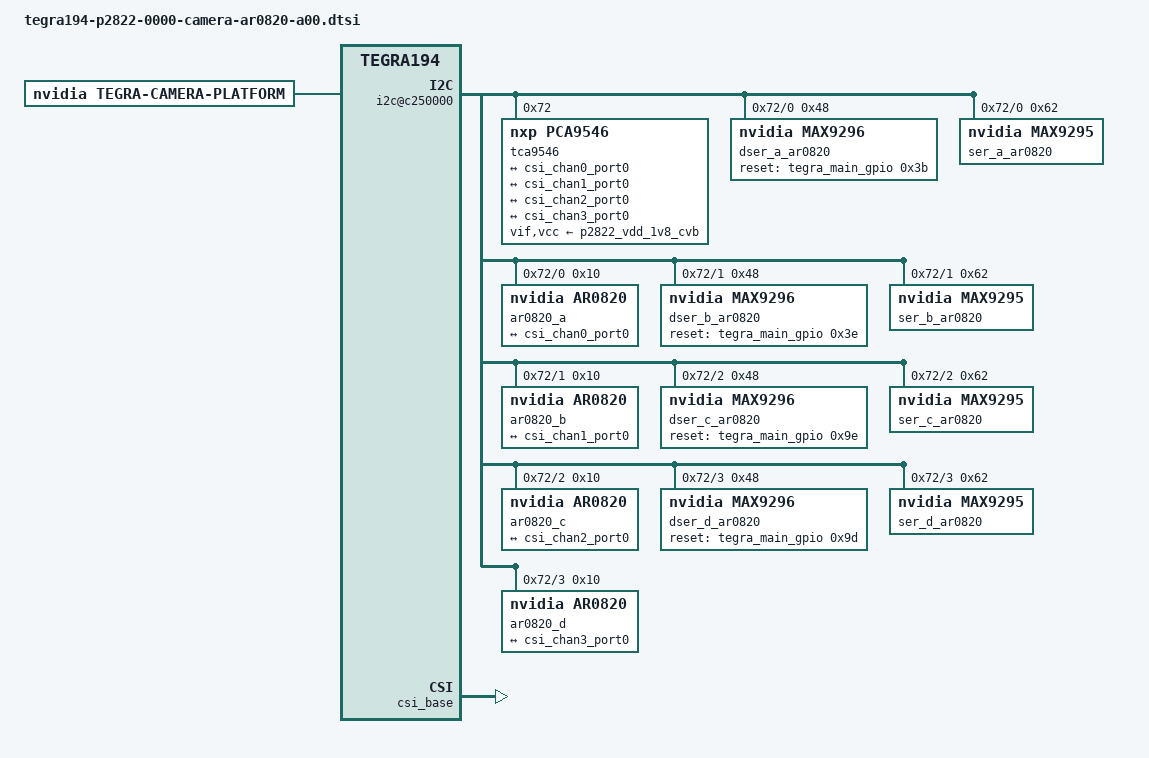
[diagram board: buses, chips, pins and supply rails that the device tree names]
/*
 * Copyright (c) 2018-2019, NVIDIA CORPORATION.  All rights reserved.
 *
 * This program is free software; you can redistribute it and/or modify
 * it under the terms of the GNU General Public License as published by
 * the Free Software Foundation; either version 2 of the License, or
 * (at your option) any later version.
 *
 * This program is distributed in the hope that it will be useful, but WITHOUT
 * ANY WARRANTY; without even the implied warranty of MERCHANTABILITY or
 * FITNESS FOR A PARTICULAR PURPOSE.  See the GNU General Public License for
 * more details.
 *
 * You should have received a copy of the GNU General Public License
 * along with this program.  If not, see <http://www.gnu.org/licenses/>.
 */
#include "dt-bindings/clock/tegra194-clock.h"

#define CAM0_RST_L	TEGRA194_MAIN_GPIO(H, 3)
#define CAMERA_I2C_MUX_BUS(x) (0x1E + x)

/* camera control gpio definitions */

/ {
	i2c@c250000 {
		#address-cells = <1>;
		#size-cells = <0>;

		tca9546@72 {
			compatible = "nxp,pca9546";
			reg = <0x72>;
			#address-cells = <1>;
			#size-cells = <0>;
			skip_mux_detect = "yes";
			vif-supply = <&p2822_vdd_1v8_cvb>;
			vcc-supply = <&p2822_vdd_1v8_cvb>;
			vcc_lp = "vcc";
			force_bus_start = <CAMERA_I2C_MUX_BUS(0)>;

			// I2C mux select 0 on JCB002
			i2c@0 {
				reg = <0>;
				i2c-mux,deselect-on-exit;
				#address-cells = <1>;
				#size-cells = <0>;

				dser_a_ar0820: max9296@48 {
					compatible = "nvidia,max9296";
					reg = <0x48>;
					csi-mode = "2x4";
					max-src = <1>;
					reset-gpios =  <&tegra_main_gpio 0x3b GPIO_ACTIVE_HIGH>;
				};

				ser_a_ar0820: max9295_prim@62 {
					compatible = "nvidia,max9295";
					reg = <0x62>;
				};

				ar0820_a: ar0820_a@10 {
					compatible = "nvidia,ar0820";
					reg = <0x10>;
					def-addr = <0x10>;
					reg_mux = <0x1>;
					physical_w = "15.0";
					physical_h = "12.5";
					sensor_model = "ar0820";
					post_crop_frame_drop = [30 00];
					use_decibel_gain = "true";
					use_sensor_mode_id = "true";
					clocks = <0x4 0x24 0x4 0x24>;
					clock-names = "extperiph1", "pllp_grtba";
					mclk = "extperiph1";
					nvidia,gmsl-ser-device = <&ser_a_ar0820>;
					nvidia,gmsl-dser-device = <&dser_a_ar0820>;	

					mode0 {
						default_framerate = "30000000";
						step_exp_time = [31 00];
						line_length = "1336";
						active_w = "3840";
						embedded_metadata_height = [30 00];
						pixel_phase = "grbg";
						pix_clk_hz = "156000000";
						dynamic_pixel_bit_depth = "12";
						dpcm_enable = "false";
						mode_type = "bayer";
						num_lanes = [34 00];
						inherent_gain = [31 00];
						max_gain_val = "499";
						min_hdr_ratio = [31 00];
						discontinuous_clk = "no";
						readout_orientation = [30 00];
						min_gain_val = "399";
						max_hdr_ratio = [31 00];
						tegra_sinterface = "serial_g";
						step_gain_val = [31 00];
						default_gain = "399";
						csi_pixel_bit_depth = "12";
						min_framerate = "30000000";
						default_exp_time = "1000";
						max_framerate = "30000000";
						exposure_factor = "1000000";
						step_framerate = [31 00];
						phy_mode = "DPHY";
						mclk_khz = "27000";
						cil_settletime = [30 00];
						gain_factor = "100";
						framerate_factor = "1000000";
						active_h = "2160";
						serdes_pix_clk_hz = "1500000000";
						max_exp_time = "6800";
						min_exp_time = "100";
					};

					ports {
						reg = <0x0>;
						#address-cells = <1>;
						#size-cells = <0>;
						
						port@0 {
							reg = <0>;
							ar0820_a_out: endpoint {
								vc-id = <0x0>;
								port-index = <0x6>;
								bus-width = <0x4>;
								remote-endpoint = <&csi_chan0_port0>;
							};
						};
					};

					gmsl-link {
						src-csi-port = "b";
						dst-csi-port = "a";
						serdes-csi-link = "a";
						csi-mode = "1x4";
						st-vc = <0x0>;
						vc-id = <0x0>;
						num-lanes = <0x4>;
						streams = "raw12";
					};
				};
			};

			// I2C mux select 1 on JCB002
			i2c@1 {
				reg = <1>;
				i2c-mux,deselect-on-exit;
				#address-cells = <1>;
				#size-cells = <0>;

				dser_b_ar0820: max9296@48 {
					compatible = "nvidia,max9296";
					reg = <0x48>;
					csi-mode = "2x4";
					max-src = <1>;
					reset-gpios =  <&tegra_main_gpio 0x3e GPIO_ACTIVE_HIGH>;
				};

				ser_b_ar0820: max9295_prim@62 {
					compatible = "nvidia,max9295";
					reg = <0x62>;
				};

				ar0820_b:  ar0820_b@10 {
					compatible = "nvidia,ar0820";
					reg = <0x10>;
					def-addr = <0x10>;
					reg_mux = <0x1>;
					physical_w = "15.0";
					physical_h = "12.5";
					sensor_model = "ar0820";
					post_crop_frame_drop = [30 00];
					use_decibel_gain = "true";
					use_sensor_mode_id = "true";
					clocks = <0x4 0x24 0x4 0x24>;
					clock-names = "extperiph1", "pllp_grtba";
					mclk = "extperiph1";
					nvidia,gmsl-ser-device = <&ser_b_ar0820>;
					nvidia,gmsl-dser-device = <&dser_b_ar0820>;	

					mode0 {
						default_framerate = "30000000";
						step_exp_time = [31 00];
						line_length = "1336";
						active_w = "3840";
						embedded_metadata_height = [30 00];
						pixel_phase = "grbg";
						pix_clk_hz = "156000000";
						dynamic_pixel_bit_depth = "12";
						dpcm_enable = "false";
						mode_type = "bayer";
						num_lanes = [34 00];
						inherent_gain = [31 00];
						max_gain_val = "499";
						min_hdr_ratio = [31 00];
						discontinuous_clk = "no";
						readout_orientation = [30 00];
						min_gain_val = "399";
						max_hdr_ratio = [31 00];
						tegra_sinterface = "serial_g";
						step_gain_val = [31 00];
						default_gain = "399";
						csi_pixel_bit_depth = "12";
						min_framerate = "30000000";
						default_exp_time = "1000";
						max_framerate = "30000000";
						exposure_factor = "1000000";
						step_framerate = [31 00];
						phy_mode = "DPHY";
						mclk_khz = "27000";
						cil_settletime = [30 00];
						gain_factor = "100";
						framerate_factor = "1000000";
						active_h = "2160";
						serdes_pix_clk_hz = "1500000000";
						max_exp_time = "6800";
						min_exp_time = "100";
					};

					ports {
						reg = <0x0>;
						#address-cells = <1>;
						#size-cells = <0>;

						port@0 {
							reg = <0>;
							ar0820_b_out: endpoint {
								vc-id = <0x0>;
								port-index = <0x4>;
								bus-width = <0x4>;
								remote-endpoint = <&csi_chan1_port0>;
							};
						};
					};

					gmsl-link {
						src-csi-port = "b";
						dst-csi-port = "a";
						serdes-csi-link = "a";
						csi-mode = "1x4";
						st-vc = <0x0>;
						vc-id = <0x0>;
						num-lanes = <0x4>;
						streams = "raw12";
					};
				};
			};


			// I2C mux select 2 on JCB002
			i2c@2 {
				reg = <2>;
				i2c-mux,deselect-on-exit;
				#address-cells = <1>;
				#size-cells = <0>;

				dser_c_ar0820: max9296@48 {
					compatible = "nvidia,max9296";
					reg = <0x48>;
					csi-mode = "2x4";
					max-src = <1>;
					reset-gpios =  <&tegra_main_gpio 0x9e GPIO_ACTIVE_HIGH>;
				};

				ser_c_ar0820: max9295_prim@62 {
					compatible = "nvidia,max9295";
					reg = <0x62>;
				};

				ar0820_c: ar0820_c@10 {
					compatible = "nvidia,ar0820";
					reg = <0x10>;
					def-addr = <0x10>;
					reg_mux = <0x1>;
					physical_w = "15.0";
					physical_h = "12.5";
					sensor_model = "ar0820";
					post_crop_frame_drop = [30 00];
					use_decibel_gain = "true";
					use_sensor_mode_id = "true";
					clocks = <0x4 0x24 0x4 0x24>;
					clock-names = "extperiph1", "pllp_grtba";
					mclk = "extperiph1";
					nvidia,gmsl-ser-device = <&ser_c_ar0820>;
					nvidia,gmsl-dser-device = <&dser_c_ar0820>;	

					mode0 {
						default_framerate = "30000000";
						step_exp_time = [31 00];
						line_length = "1336";
						active_w = "3840";
						embedded_metadata_height = [30 00];
						pixel_phase = "grbg";
						pix_clk_hz = "156000000";
						dynamic_pixel_bit_depth = "12";
						dpcm_enable = "false";
						mode_type = "bayer";
						num_lanes = [34 00];
						inherent_gain = [31 00];
						max_gain_val = "499";
						min_hdr_ratio = [31 00];
						discontinuous_clk = "no";
						readout_orientation = [30 00];
						min_gain_val = "399";
						max_hdr_ratio = [31 00];
						tegra_sinterface = "serial_g";
						step_gain_val = [31 00];
						default_gain = "399";
						csi_pixel_bit_depth = "12";
						min_framerate = "30000000";
						default_exp_time = "1000";
						max_framerate = "30000000";
						exposure_factor = "1000000";
						step_framerate = [31 00];
						phy_mode = "DPHY";
						mclk_khz = "27000";
						cil_settletime = [30 00];
						gain_factor = "100";
						framerate_factor = "1000000";
						active_h = "2160";
						serdes_pix_clk_hz = "1500000000";
						max_exp_time = "6800";
						min_exp_time = "100";
					};

					ports {
						reg = <0x0>;
						#address-cells = <1>;
						#size-cells = <0>;

						port@0 {
							reg = <0>;
							ar0820_c_out: endpoint {
								vc-id = <0x0>;
								port-index = <0x2>;
								bus-width = <0x4>;
								remote-endpoint = <&csi_chan2_port0>;
							};
						};
					};

					gmsl-link {
						src-csi-port = "b";
						dst-csi-port = "a";
						serdes-csi-link = "a";
						csi-mode = "1x4";
						st-vc = <0x0>;
						vc-id = <0x0>;
						num-lanes = <0x4>;
						streams = "raw12";
					};
				};
			};

		
			// I2C mux select 1 on JCB002
			i2c@3 {
				reg = <3>;
				i2c-mux,deselect-on-exit;
				#address-cells = <1>;
					#size-cells = <0>;

				dser_d_ar0820: max9296@48 {
					compatible = "nvidia,max9296";
					reg = <0x48>;
					csi-mode = "2x4";
					max-src = <1>;
					reset-gpios =  <&tegra_main_gpio 0x9d GPIO_ACTIVE_HIGH>;
				};

				ser_d_ar0820: max9295_prim@62 {
					compatible = "nvidia,max9295";
					reg = <0x62>;
				};

				ar0820_d: ar0820_d@10 {
					compatible = "nvidia,ar0820";
					reg = <0x10>;
					def-addr = <0x10>;
					reg_mux = <0x1>;
					physical_w = "15.0";
					physical_h = "12.5";
					sensor_model = "ar0820";
					post_crop_frame_drop = [30 00];
					use_decibel_gain = "true";
					use_sensor_mode_id = "true";
					clocks = <0x4 0x24 0x4 0x24>;
					clock-names = "extperiph1", "pllp_grtba";
					mclk = "extperiph1";
					nvidia,gmsl-ser-device = <&ser_d_ar0820>;
					nvidia,gmsl-dser-device = <&dser_d_ar0820>;	

					mode0 {
						default_framerate = "30000000";
						step_exp_time = [31 00];
						line_length = "1336";
						active_w = "3840";
						embedded_metadata_height = [30 00];
						pixel_phase = "grbg";
						pix_clk_hz = "156000000";
						dynamic_pixel_bit_depth = "12";
						dpcm_enable = "false";
						mode_type = "bayer";
						num_lanes = [34 00];
						inherent_gain = [31 00];
						max_gain_val = "499";
						min_hdr_ratio = [31 00];
						discontinuous_clk = "no";
						readout_orientation = [30 00];
						min_gain_val = "399";
						max_hdr_ratio = [31 00];
						tegra_sinterface = "serial_g";
						step_gain_val = [31 00];
						default_gain = "399";
						csi_pixel_bit_depth = "12";
						min_framerate = "30000000";
						default_exp_time = "1000";
						max_framerate = "30000000";
						exposure_factor = "1000000";
						step_framerate = [31 00];
						phy_mode = "DPHY";
						mclk_khz = "27000";
						cil_settletime = [30 00];
						gain_factor = "100";
						framerate_factor = "1000000";
						active_h = "2160";
						serdes_pix_clk_hz = "1500000000";
						max_exp_time = "6800";
						min_exp_time = "100";
					};

					ports {
						#address-cells = <1>;
						#size-cells = <0>;
						reg = <0x0>;

						port@0 {
							reg = <0>;
							ar0820_d_out: endpoint {
								vc-id = <0x0>;
								port-index = <0x0>;
								bus-width = <0x4>;
								remote-endpoint = <&csi_chan3_port0>;
							};
						};
					};

					gmsl-link {
						src-csi-port = "b";
						dst-csi-port = "a";
						serdes-csi-link = "a";
						csi-mode = "1x4";
						st-vc = <0x0>;
						vc-id = <0x0>;
						num-lanes = <0x4>;
						streams = "raw12";
					};
				};
			};
		};	
	};

	host1x {
		vi_base: vi@15c10000 {
			#address-cells = <1>;
        		#size-cells = <0>;
			status = "okay";
			num-channels = <4>;

			ports {
				vi_port0: port@0 {
					#address-cells = <1>;
        			#size-cells = <0>;
					reg = <0>;
					status = "okay";
					vi_in0: endpoint {
						vc-id = <0>;
						port-index = <6>;
						bus-width = <0x4>;
						status = "okay";
						remote-endpoint = <&csi_chan0_port1>;
					};
				};
				vi_port1: port@1 {
					#address-cells = <1>;
        			#size-cells = <0>;
					reg = <1>;
					status = "okay";
					vi_in1: endpoint {
						vc-id = <0>;
						port-index = <4>;
						bus-width = <0x4>;
						status = "okay";
						remote-endpoint = <&csi_chan1_port1>;						
					};
				};
				vi_port2: port@2 {
					#address-cells = <1>;
        			#size-cells = <0>;
					reg = <2>;
					status = "okay";
					vi_in2: endpoint {
						vc-id = <0>;
						port-index = <2>;
						bus-width = <0x4>;
						status = "okay";
						remote-endpoint = <&csi_chan2_port1>;												
					};
				};
				vi_port3: port@3 {
					#address-cells = <1>;
        			#size-cells = <0>;
					reg = <3>;
					status = "okay";
					vi_in3: endpoint {
						vc-id = <0>;
						port-index = <0>;
						bus-width = <0x4>;
						status = "okay";
						remote-endpoint = <&csi_chan3_port1>;																};
				};
			};
		};

		csi_base: nvcsi@15a00000 {
			#address-cells = <1>;
        	#size-cells = <0>;
			num-tpg-channels = <36>;
			num-channels = <4>;
		 	status = "okay"; 
	
			csi_chan0: channel@0 {
				status = "okay";
				reg = <0>;
				ports {					
					csi_chan0_port0: port@0 {
						#address-cells = <1>;
        				#size-cells = <0>;					
						status = "okay";
						reg = <0>;
						csi_in0: endpoint@0 {
							status = "okay";
							port-index = <6>;
							bus-width  = <4>;
							remote-endpoint = <&ar0820_a_out>;

						};
					};
					csi_chan0_port1: port@1 {
						#address-cells = <1>;
        				#size-cells = <0>;
						status = "okay";
						reg = <1>;
						csi_out0: endpoint@1 {
							remote-endpoint = <&vi_port0>;
							status = "okay";
						};
					};
				};
			};
			csi_chan1: channel@1 {
				status = "okay";
				reg = <1>;
				ports {
					csi_chan1_port0: port@0 {
						#address-cells = <1>;
        				#size-cells = <0>;
						status = "okay";
						reg = <0>;
						csi_in1: endpoint@2 {
							status = "okay";
							port-index = <0x4>;
							bus-width = <0x4>;							
							remote-endpoint = <&ar0820_b_out>;
						};
					};
					csi_chan1_port1: port@1 {
						#address-cells = <1>;
        				#size-cells = <0>;
						status = "okay";
						reg = <1>;
						csi_out1: endpoint@3 {
							remote-endpoint = <&vi_port1>;
							status = "okay";
						};
					};
				};
			};
			csi_chan2: channel@2 {
				status = "okay";
				reg = <2>;
				ports {
					csi_chan2_port0: port@0 {
						#address-cells = <1>;
        				#size-cells = <0>;
						status = "okay";
						reg = <0>;
						csi_in2: endpoint@4 {
							status = "okay";
							port-index = <0x2>;
							bus-width = <0x4>;							
							remote-endpoint = <&ar0820_c_out>;
						};
					};
					csi_chan2_port1: port@1 {
						#address-cells = <1>;
        				#size-cells = <0>;
						status = "okay";
						reg = <1>;
						csi_out2: endpoint@5 {
							remote-endpoint = <&vi_port2>;
							status = "okay";
						};
					};
				};
			};
			csi_chan3: channel@3 {
				status = "okay";
				reg = <3>;
				ports {
					csi_chan3_port0: port@0 {
						#address-cells = <1>;
        				#size-cells = <0>;
						status = "okay";
						reg = <0>;
						csi_in3: endpoint@6 {
							status = "okay";
							port-index = <0x0>;
							bus-width = <0x4>;							
							remote-endpoint = <&ar0820_d_out>;
						};
					};
					csi_chan3_port1: port@1 {
						#address-cells = <1>;
        				#size-cells = <0>;
						status = "okay";
						reg = <1>;
						csi_out3: endpoint@7 {
							remote-endpoint = <&vi_port3>;
							status = "okay";
						};
					};
				};
			};
		};
	};

	tegra-camera-platform {
		compatible = "nvidia, tegra-camera-platform";
		num_csi_lanes = <16>;
		max_lane_speed = <1500000>;
		min_bits_per_pixel = <12>;
		vi_peak_byte_per_pixel = <2>;
		vi_bw_margin_pct = <25>;
		max_pixel_rate = <252979>;
		isp_peak_byte_per_pixel = <5>;
		isp_bw_margin_pct = <25>;

		modules {
			cam_module0: module0 {
				badge = "ar0820_a";
				position = "topleft";
				orientation = "1";
				drivernode0 {
					pcl_id = "v4l2_sensor";
					devname = "ar0820 30-0010";
					proc-device-tree = "/proc/device-tree/i2c@c250000/tca9546@72/i2c@0/ar0820_a@10";
				};
			};

			cam_module1: module1 {
				badge = "ar0820_b";
				position = "bottomleft";
				orientation = "1";
				drivernode0 {
					pcl_id = "v4l2_sensor";
					devname = "ar0820 31-0010";
					proc-device-tree = "/proc/device-tree/i2c@c250000/tca9546@72/i2c@1/ar0820_b@10";
				};
			};

			cam_module2: module2 {
				badge = "ar0820_c";
				position = "topright";
				orientation = "1";
				drivernode0 {
					pcl_id = "v4l2_sensor";
					devname = "ar0820 32-0010";
					proc-device-tree = "/proc/device-tree/i2c@c250000/tca9546@72/i2c@2/ar0820_c@10";
				};
			};

			cam_module3: module3 {
				badge = "ar0820_d";
				position = "bottomright";
				orientation = "1";
				drivernode0 {
					pcl_id = "v4l2_sensor";
					devname = "ar0820 33-0010";
					proc-device-tree = "/proc/device-tree/i2c@c250000/tca9546@72/i2c@3/ar0820_d@10";
				};
			};
		};
	};
	

	// ConnectTech JCB002 board requires 2v8 supply to power deserializers
	fixed-regulators {
		regulator@107 {
			regulator-always-on;
			regulator-boot-on;
		};
    };


	tegra-virtual-camera-platform
	{
		isp_bw_margin_pct = <0x19>;
		isp_peak_byte_per_pixel = <0x5>;

		modules
		{
			module0
			{
				badge = "vivid_front_instance0";
				position = "front";
				orientation = [31 00];

				drivernode0
				{
					devname = "tegra-vivid-000";
					pcl_id = "v4l2_sensor_virtual";
					proc-device-tree = "/proc/device-tree/vivid-driver/instances/instance0";
				};
			};
		};
	};

	vivid-driver
	{
		instance0
		{
			mode0
			{
				line_length = "2200";
				active_w = "1920";
				vert_front_porch = [34 00];
				horz_back_porch = "148";
				embedded_metadata_height = [31 00];
				pixel_t = "bayer_bggr10";
				pix_clk_hz = "74250000";
				max_gain_val = "256";
				vert_back_porch = "36";
				vert_sync = [35 00];
				readout_orientation = "90";
				min_gain_val = [31 00];
				tegra_sinterface = "host";
				min_framerate = [31 00];
				max_framerate = "30";
				horz_sync = "44";
				gain_factor = "16";
				framerate_factor = [31 00];
				active_h = "1080";
				max_exp_time = "999994";
				horz_front_porch = "88";
				min_exp_time = "34";
			};
		};
	};
};
